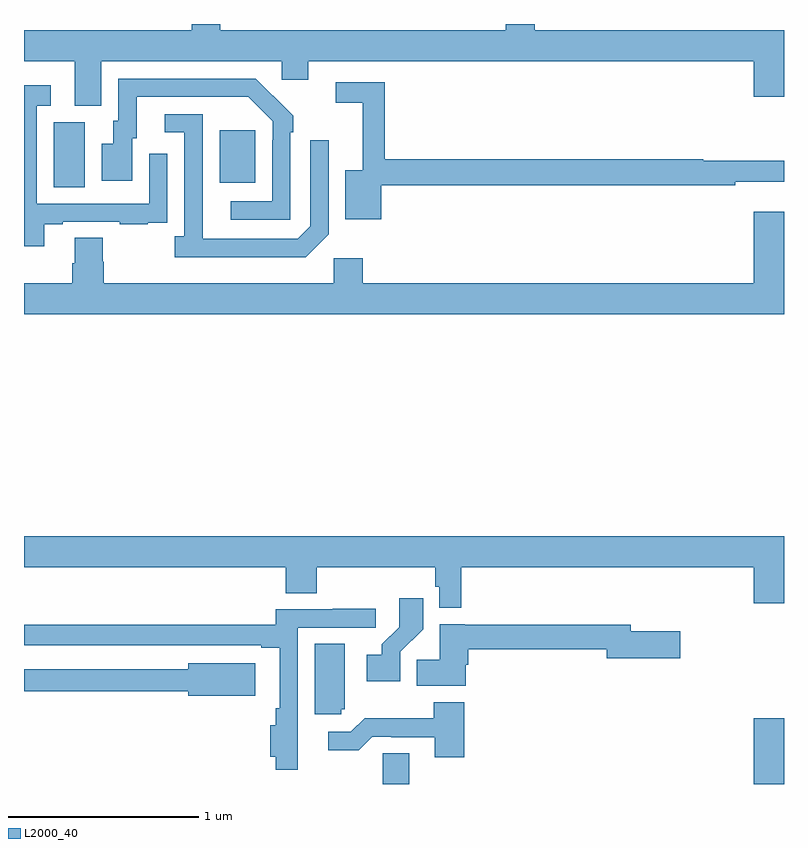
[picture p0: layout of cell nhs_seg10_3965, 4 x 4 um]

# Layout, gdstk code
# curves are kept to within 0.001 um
import gdstk
lib = gdstk.Library(unit=1e-6, precision=1e-09)
def R(c, l, rs):  # rectangles x0, y0, x1, y1
    for r in rs: c.add(gdstk.rectangle(r[:2], r[2:], *l))
def P(c, l, *ps):  # polygons
    for p in ps: c.add(gdstk.Polygon(p, *l))
L2000_40 = (2000, 40)

nhs_seg10_3965 = lib.new_cell('nhs_seg10_3965')
R(nhs_seg10_3965, L2000_40, [(330.888,1308.5,331.027,1308.662), (332.84,1308.5,333,1308.847), (329.156,1311.64,329.32,1311.984), (330.029,1311.665,330.217,1311.94)])
P(nhs_seg10_3965, L2000_40, [(329.407,1312.304),(330.357,1312.304),(330.357,1312.206),(330.496,1312.206),(330.496,1312.304),(332.84,1312.304),(332.84,1312.116),(333,1312.116),(333,1312.468),(331.688,1312.468),(331.688,1312.5),(331.536,1312.5),(331.536,1312.468),(330.034,1312.468),(330.034,1312.5),(329.882,1312.5),(329.882,1312.468),(329,1312.468),(329,1312.304),(329.267,1312.304),(329.267,1312.069),(329.407,1312.069)],
  [(330.402,1311.929),(330.417,1311.929),(330.417,1312.017),(330.22,1312.212),(329.496,1312.212),(329.496,1311.99),(329.471,1311.99),(329.471,1311.871),(329.408,1311.871),(329.408,1311.675),(329.569,1311.675),(329.569,1311.9),(329.593,1311.9),(329.593,1312.116),(330.181,1312.116),(330.309,1311.987),(330.309,1311.887),(330.306,1311.887),(330.306,1311.567),(330.087,1311.567),(330.087,1311.471),(330.402,1311.471)],
  [(330.879,1311.652),(332.744,1311.652),(332.744,1311.671),(333,1311.671),(333,1311.781),(332.576,1311.781),(332.576,1311.788),(330.899,1311.788),(330.899,1312.194),(330.642,1312.194),(330.642,1312.086),(330.782,1312.086),(330.782,1311.73),(330.692,1311.73),(330.692,1311.473),(330.879,1311.473)],
  [(329.107,1311.447),(329.203,1311.447),(329.203,1311.459),(329.503,1311.459),(329.503,1311.447),(329.651,1311.447),(329.651,1311.453),(329.753,1311.453),(329.753,1311.562),(329.754,1311.562),(329.754,1311.817),(329.658,1311.817),(329.658,1311.555),(329.067,1311.555),(329.067,1312.071),(329.14,1312.071),(329.14,1312.177),(329,1312.177),(329,1311.33),(329.107,1311.33)],
  [(330.603,1311.393),(330.603,1311.889),(330.507,1311.889),(330.507,1311.435),(330.441,1311.369),(329.941,1311.369),(329.94,1312.026),(329.742,1312.026),(329.742,1311.93),(329.844,1311.93),(329.844,1311.382),(329.793,1311.382),(329.793,1311.272),(330.482,1311.272)],
  [(333,1311.511),(332.84,1311.511),(332.84,1311.136),(330.782,1311.136),(330.782,1311.268),(330.63,1311.268),(330.63,1311.136),(329.42,1311.136),(329.42,1311.249),(329.415,1311.249),(329.415,1311.374),(329.267,1311.374),(329.267,1311.242),(329.255,1311.242),(329.255,1311.136),(329,1311.136),(329,1310.972),(333,1310.972)],
  [(331.301,1309.64),(332.84,1309.64),(332.84,1309.452),(333,1309.452),(333,1309.804),(329,1309.804),(329,1309.64),(330.377,1309.64),(330.377,1309.504),(330.542,1309.504),(330.542,1309.64),(331.165,1309.64),(331.165,1309.539),(331.185,1309.539),(331.185,1309.427),(331.301,1309.427)],
  [(330.981,1309.195),(331.1,1309.314),(331.1,1309.477),(330.975,1309.477),(330.975,1309.325),(330.884,1309.235),(330.884,1309.18),(330.804,1309.18),(330.804,1309.04),(330.981,1309.04)],
  [(330.442,1308.798),(330.441,1308.798),(330.441,1309.323),(330.85,1309.323),(330.85,1309.422),(330.625,1309.422),(330.625,1309.419),(330.325,1309.419),(330.325,1309.339),(329,1309.339),(329,1309.23),(330.248,1309.23),(330.248,1309.218),(330.345,1309.218),(330.345,1308.898),(330.325,1308.898),(330.325,1308.81),(330.296,1308.81),(330.296,1308.644),(330.325,1308.644),(330.325,1308.576),(330.442,1308.576)],
  [(331.324,1309.127),(331.337,1309.127),(331.337,1309.21),(332.066,1309.21),(332.066,1309.163),(332.455,1309.163),(332.455,1309.305),(332.194,1309.305),(332.194,1309.339),(331.32,1309.339),(331.32,1309.342),(331.187,1309.342),(331.187,1309.154),(331.066,1309.154),(331.066,1309.016),(331.324,1309.016)],
  [(330.669,1308.894),(330.688,1308.894),(330.688,1309.238),(330.53,1309.238),(330.53,1308.867),(330.669,1308.867)],
  [(330.217,1309.135),(329.864,1309.135),(329.864,1309.104),(329,1309.104),(329,1308.988),(329.864,1308.988),(329.864,1308.965),(330.217,1308.965)],
  [(331.316,1308.931),(331.156,1308.931),(331.156,1308.847),(330.793,1308.847),(330.72,1308.774),(330.6,1308.774),(330.6,1308.677),(330.761,1308.677),(330.834,1308.75),(330.934,1308.75),(330.934,1308.747),(331.163,1308.747),(331.163,1308.642),(331.316,1308.642)])

lib.write_gds('nhs_seg10_3965.gds')
